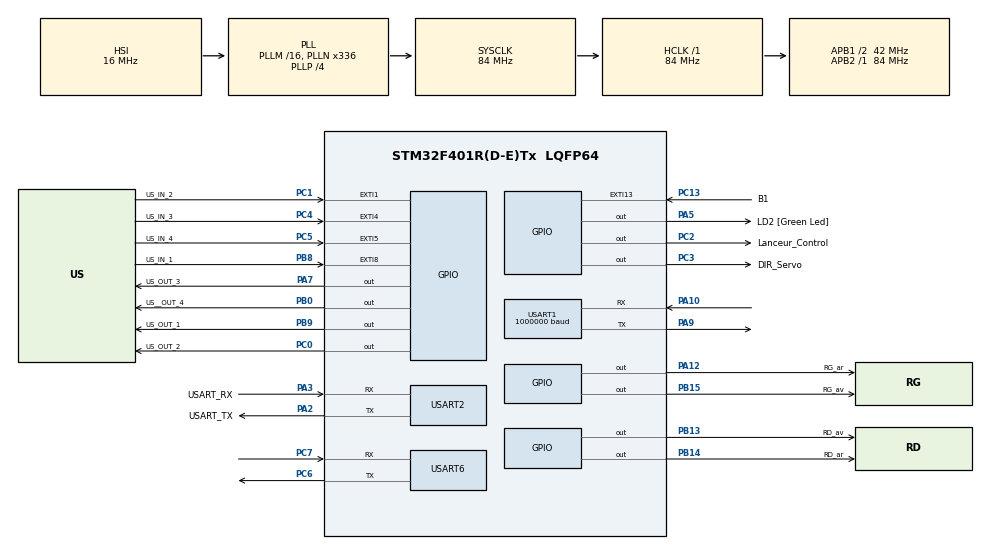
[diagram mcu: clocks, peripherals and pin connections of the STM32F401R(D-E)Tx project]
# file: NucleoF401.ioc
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Mcu.Family=STM32F4
Mcu.Name=STM32F401R(D-E)Tx
Mcu.Package=LQFP64
NVIC.EXTI15_10_IRQn=true\:0\:0\:false\:false\:true\:true
NVIC.EXTI1_IRQn=true\:0\:0\:false\:false\:true\:true
NVIC.EXTI4_IRQn=true\:0\:0\:false\:false\:true\:true
NVIC.EXTI9_5_IRQn=true\:0\:0\:false\:false\:true\:true
NVIC.PriorityGroup=NVIC_PRIORITYGROUP_0
NVIC.TIM3_IRQn=true\:0\:0\:false\:false\:true\:true
PA0-WKUP.GPIO_Label=CH_B1
PA0-WKUP.Signal=S_TIM2_CH1_ETR
PA10.Mode=Asynchronous
PA10.Signal=USART1_RX
PA12.GPIO_Label=RG_ar
PA12.Signal=GPIO_Output
PA13.GPIO_Label=TMS
PA13.Signal=SYS_JTMS-SWDIO
PA14.GPIO_Label=TCK
PA14.Signal=SYS_JTCK-SWCLK
PA2.GPIO_Label=USART_TX
PA2.GPIO_Mode=GPIO_MODE_AF_PP
PA2.GPIO_PuPd=GPIO_NOPULL
PA2.GPIO_Speed=GPIO_SPEED_FREQ_LOW
PA2.Mode=Asynchronous
PA2.Signal=USART2_TX
PA3.GPIO_Label=USART_RX
PA3.GPIO_Mode=GPIO_MODE_AF_PP
PA3.GPIO_PuPd=GPIO_NOPULL
PA3.GPIO_Speed=GPIO_SPEED_FREQ_LOW
PA3.Mode=Asynchronous
PA3.Signal=USART2_RX
PA5.GPIO_Label=LD2 [Green Led]
PA5.GPIO_Mode=GPIO_MODE_OUTPUT_PP
PA5.GPIO_PuPd=GPIO_NOPULL
PA5.GPIO_Speed=GPIO_SPEED_FREQ_LOW
PA5.Signal=GPIO_Output
PA6.GPIO_Label=CH_A2
PA6.Signal=S_TIM3_CH1
PA7.GPIO_Label=US_OUT_3
PA7.Signal=GPIO_Output
PA8.GPIO_Label=CH_A1
PA8.Signal=S_TIM1_CH1
PA9.Mode=Asynchronous
PA9.Signal=USART1_TX
PB0.GPIO_Label=US__OUT_4
PB0.Signal=GPIO_Output
PB13.GPIO_Label=RD_av
PB13.Signal=GPIO_Output
PB14.GPIO_Label=RD_ar
PB14.Signal=GPIO_Output
PB15.GPIO_Label=RG_av
PB15.Signal=GPIO_Output
PB3.GPIO_Label=SWO
PB3.Signal=SYS_JTDO-SWO
PB6.GPIO_Label=CH_B2
PB6.Signal=S_TIM4_CH1
PB8.GPIO_Label=US_IN_1
PB8.GPIO_ModeDefaultEXTI=GPIO_MODE_IT_RISING_FALLING
PB8.Signal=GPXTI8
PB9.GPIO_Label=US_OUT_1
PB9.Signal=GPIO_Output
PC0.GPIO_Label=US_OUT_2
PC0.Signal=GPIO_Output
PC1.GPIO_Label=US_IN_2
PC1.GPIO_ModeDefaultEXTI=GPIO_MODE_IT_RISING_FALLING
PC1.Signal=GPXTI1
PC13-ANTI_TAMP.GPIO_Label=B1
PC13-ANTI_TAMP.GPIO_ModeDefaultEXTI=GPIO_MODE_IT_FALLING
PC13-ANTI_TAMP.GPIO_PuPd=GPIO_NOPULL
PC13-ANTI_TAMP.Signal=GPXTI13
PC14-OSC32_IN.Signal=RCC_OSC32_IN
PC15-OSC32_OUT.Signal=RCC_OSC32_OUT
PC2.GPIO_Label=Lanceur_Control
PC2.Signal=GPIO_Output
PC3.GPIO_Label=DIR_Servo
PC3.Signal=GPIO_Output
PC4.GPIO_Label=US_IN_3
PC4.GPIO_ModeDefaultEXTI=GPIO_MODE_IT_RISING_FALLING
PC4.Signal=GPXTI4
PC5.GPIO_Label=US_IN_4
PC5.GPIO_ModeDefaultEXTI=GPIO_MODE_IT_RISING_FALLING
PC5.Signal=GPXTI5
PC6.Mode=Asynchronous
PC6.Signal=USART6_TX
PC7.Mode=Asynchronous
PC7.Signal=USART6_RX
PH0\ -\ OSC_IN.Signal=RCC_OSC_IN
PH1\ -\ OSC_OUT.Signal=RCC_OSC_OUT
ProjectManager.HeapSize=0x200
ProjectManager.StackSize=0x400
ProjectManager.TargetToolchain=Makefile
RCC.AHBFreq_Value=84000000
RCC.APB1CLKDivider=RCC_HCLK_DIV2
RCC.APB1Freq_Value=42000000
RCC.APB1TimFreq_Value=84000000
RCC.APB2Freq_Value=84000000
RCC.APB2TimFreq_Value=84000000
RCC.CortexFreq_Value=84000000
RCC.HCLKFreq_Value=84000000
RCC.HSE_VALUE=8000000
RCC.HSI_VALUE=16000000
RCC.LSE_VALUE=32768
RCC.PLLN=336
RCC.PLLP=RCC_PLLP_DIV4
RCC.PLLQ=7
RCC.SYSCLKFreq_VALUE=84000000
RCC.SYSCLKSource=RCC_SYSCLKSOURCE_PLLCLK
RCC.VCOOutputFreq_Value=336000000
SH.S_TIM1_CH1.0=TIM1_CH1
SH.S_TIM2_CH1_ETR.0=TIM2_CH1
SH.S_TIM3_CH1.0=TIM3_CH1
SH.S_TIM4_CH1.0=TIM4_CH1
TIM3.Period=1000-1
TIM3.Prescaler=42000-1
USART1.BaudRate=1000000
USART1.VirtualMode=VM_ASYNC
USART2.VirtualMode=VM_ASYNC
USART6.VirtualMode=VM_ASYNC
VP_TIM3_VS_ClockSourceINT.Mode=Internal
board=NUCLEO-F401RE

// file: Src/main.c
/**
  ******************************************************************************
  * @file           : main.c
  * @brief          : Main program body
  ******************************************************************************
  ** This notice applies to any and all portions of this file
  * that are not between comment pairs USER CODE BEGIN and
  * USER CODE END. Other portions of this file, whether
  * inserted by the user or by software development tools
  * are owned by their respective copyright owners.
  *
  * COPYRIGHT(c) 2018 STMicroelectronics
  *
  * Redistribution and use in source and binary forms, with or without modification,
  * are permitted provided that the following conditions are met:
  *   1. Redistributions of source code must retain the above copyright notice,
  *      this list of conditions and the following disclaimer.
  *   2. Redistributions in binary form must reproduce the above copyright notice,
  *      this list of conditions and the following disclaimer in the documentation
  *      and/or other materials provided with the distribution.
  *   3. Neither the name of STMicroelectronics nor the names of its contributors
  *      may be used to endorse or promote products derived from this software
  *      without specific prior written permission.
  *
  * THIS SOFTWARE IS PROVIDED BY THE COPYRIGHT HOLDERS AND CONTRIBUTORS "AS IS"
  * AND ANY EXPRESS OR IMPLIED WARRANTIES, INCLUDING, BUT NOT LIMITED TO, THE
  * IMPLIED WARRANTIES OF MERCHANTABILITY AND FITNESS FOR A PARTICULAR PURPOSE ARE
  * DISCLAIMED. IN NO EVENT SHALL THE COPYRIGHT HOLDER OR CONTRIBUTORS BE LIABLE
  * FOR ANY DIRECT, INDIRECT, INCIDENTAL, SPECIAL, EXEMPLARY, OR CONSEQUENTIAL
  * DAMAGES (INCLUDING, BUT NOT LIMITED TO, PROCUREMENT OF SUBSTITUTE GOODS OR
  * SERVICES; LOSS OF USE, DATA, OR PROFITS; OR BUSINESS INTERRUPTION) HOWEVER
  * CAUSED AND ON ANY THEORY OF LIABILITY, WHETHER IN CONTRACT, STRICT LIABILITY,
  * OR TORT (INCLUDING NEGLIGENCE OR OTHERWISE) ARISING IN ANY WAY OUT OF THE USE
  * OF THIS SOFTWARE, EVEN IF ADVISED OF THE POSSIBILITY OF SUCH DAMAGE.
  *
  ******************************************************************************
  */
#include "main.h"
#include "stm32f4xx_hal.h"

TIM_HandleTypeDef htim3;

UART_HandleTypeDef huart1;
UART_HandleTypeDef huart2;
UART_HandleTypeDef huart6;

/* USER CODE BEGIN PV */
/* Private variables ---------------------------------------------------------*/

/* USER CODE END PV */

void SystemClock_Config(void);
static void MX_GPIO_Init(void);
static void MX_USART1_UART_Init(void);
static void MX_TIM3_Init(void);
static void MX_USART2_UART_Init(void);
static void MX_USART6_UART_Init(void);

/* USER CODE BEGIN PFP */
/* Private function prototypes -----------------------------------------------*/

/* USER CODE END PFP */

/* USER CODE BEGIN 0 */
typedef struct Moteur_pin Moteur_pin;
struct Moteur_pin {
  GPIO_TypeDef* type;
  uint16_t pin;
};

typedef struct Moteur Moteur;
struct Moteur {
  Moteur_pin av;
  Moteur_pin ar;
};

void moteur_av(Moteur m)  {
  HAL_GPIO_WritePin(m.av.type, m.av.pin, GPIO_PIN_SET);
  HAL_GPIO_WritePin(m.ar.type, m.ar.pin, GPIO_PIN_RESET);
}

void moteur_ar(Moteur m)  {
  HAL_GPIO_WritePin(m.av.type, m.av.pin, GPIO_PIN_RESET);
  HAL_GPIO_WritePin(m.ar.type, m.ar.pin, GPIO_PIN_SET);
}

void moteur_off(Moteur m)  {
  HAL_GPIO_WritePin(m.av.type, m.av.pin, GPIO_PIN_RESET);
  HAL_GPIO_WritePin(m.ar.type, m.ar.pin, GPIO_PIN_RESET);
}

void rotation_droit(Moteur mg, Moteur md) {
  moteur_av(mg);
  HAL_Delay(3000);
  moteur_av(md);
  HAL_Delay(2000);
  moteur_off(mg);
  moteur_off(md);
}

void rotation_gauche(Moteur mg, Moteur md) {
  moteur_av(md);
  HAL_Delay(3000);
  moteur_av(mg);
  HAL_Delay(2000);
  moteur_off(mg);
  moteur_off(md);
}

/* USER CODE END 0 */

int main(void)
{

  /* MCU Configuration----------------------------------------------------------*/

  /* Reset of all peripherals, Initializes the Flash interface and the Systick. */
  HAL_Init();

  /* Configure the system clock */
  SystemClock_Config();

  /* Initialize all configured peripherals */
  MX_GPIO_Init();
  MX_USART1_UART_Init();
  MX_TIM3_Init();
  MX_USART2_UART_Init();
  MX_USART6_UART_Init();
  /* USER CODE BEGIN 2 */
  HAL_TIM_Base_Start_IT(&htim3);

  Moteur mg;
  mg.av.type = GPIOB;
  mg.av.pin = RG_av_Pin;
  mg.ar.type = GPIOA;
  mg.ar.pin = RG_ar_Pin;
  Moteur md;
  md.av.type = GPIOB;
  md.av.pin = RD_av_Pin;
  md.ar.type = GPIOB;
  md.ar.pin = RD_ar_Pin;

  moteur_av(md);
  HAL_Delay(2000);
  moteur_av(mg);

  HAL_Delay(2000);

  moteur_off(md);
  HAL_Delay(2000);
  moteur_off(mg);

  HAL_Delay(2000);

  rotation_droit(mg, md);

  HAL_Delay(2000);
  rotation_gauche(mg, md);

  //HAL_GPIO_WritePin(GPIOB, RD_ar_Pin, GPIO_PIN_SET);
  //HAL_GPIO_WritePin(GPIOB, RG_ar_Pin, GPIO_PIN_SET);

  //HAL_GPIO_WritePin(GPIOB, RD_av_Pin, GPIO_PIN_SET);
  //HAL_GPIO_WritePin(GPIOA, RG_av_Pin, GPIO_PIN_SET);

  /* USER CODE END 2 */

  /* Infinite loop */
  while (1)
  {

  }

}

void SystemClock_Config(void)
{

  RCC_OscInitTypeDef RCC_OscInitStruct;
  RCC_ClkInitTypeDef RCC_ClkInitStruct;

    /**Configure the main internal regulator output voltage
    */
  __HAL_RCC_PWR_CLK_ENABLE();

  __HAL_PWR_VOLTAGESCALING_CONFIG(PWR_REGULATOR_VOLTAGE_SCALE2);

    /**Initializes the CPU, AHB and APB busses clocks
    */
  RCC_OscInitStruct.OscillatorType = RCC_OSCILLATORTYPE_HSI;
  RCC_OscInitStruct.HSIState = RCC_HSI_ON;
  RCC_OscInitStruct.HSICalibrationValue = 16;
  RCC_OscInitStruct.PLL.PLLState = RCC_PLL_ON;
  RCC_OscInitStruct.PLL.PLLSource = RCC_PLLSOURCE_HSI;
  RCC_OscInitStruct.PLL.PLLM = 16;
  RCC_OscInitStruct.PLL.PLLN = 336;
  RCC_OscInitStruct.PLL.PLLP = RCC_PLLP_DIV4;
  RCC_OscInitStruct.PLL.PLLQ = 7;
  if (HAL_RCC_OscConfig(&RCC_OscInitStruct) != HAL_OK)
  {
    _Error_Handler(__FILE__, __LINE__);
  }

    /**Initializes the CPU, AHB and APB busses clocks
    */
  RCC_ClkInitStruct.ClockType = RCC_CLOCKTYPE_HCLK|RCC_CLOCKTYPE_SYSCLK
                              |RCC_CLOCKTYPE_PCLK1|RCC_CLOCKTYPE_PCLK2;
  RCC_ClkInitStruct.SYSCLKSource = RCC_SYSCLKSOURCE_PLLCLK;
  RCC_ClkInitStruct.AHBCLKDivider = RCC_SYSCLK_DIV1;
  RCC_ClkInitStruct.APB1CLKDivider = RCC_HCLK_DIV2;
  RCC_ClkInitStruct.APB2CLKDivider = RCC_HCLK_DIV1;

  if (HAL_RCC_ClockConfig(&RCC_ClkInitStruct, FLASH_LATENCY_2) != HAL_OK)
  {
    _Error_Handler(__FILE__, __LINE__);
  }

    /**Configure the Systick interrupt time
    */
  HAL_SYSTICK_Config(HAL_RCC_GetHCLKFreq()/1000);

    /**Configure the Systick
    */
  HAL_SYSTICK_CLKSourceConfig(SYSTICK_CLKSOURCE_HCLK);

  /* SysTick_IRQn interrupt configuration */
  HAL_NVIC_SetPriority(SysTick_IRQn, 0, 0);
}

/* TIM3 init function */
static void MX_TIM3_Init(void)
{

  TIM_ClockConfigTypeDef sClockSourceConfig;
  TIM_MasterConfigTypeDef sMasterConfig;

  htim3.Instance = TIM3;
  htim3.Init.Prescaler = 42000-1;
  htim3.Init.CounterMode = TIM_COUNTERMODE_UP;
  htim3.Init.Period = 1000-1;
  htim3.Init.ClockDivision = TIM_CLOCKDIVISION_DIV1;
  if (HAL_TIM_Base_Init(&htim3) != HAL_OK)
  {
    _Error_Handler(__FILE__, __LINE__);
  }

  sClockSourceConfig.ClockSource = TIM_CLOCKSOURCE_INTERNAL;
  if (HAL_TIM_ConfigClockSource(&htim3, &sClockSourceConfig) != HAL_OK)
  {
    _Error_Handler(__FILE__, __LINE__);
  }

  sMasterConfig.MasterOutputTrigger = TIM_TRGO_RESET;
  sMasterConfig.MasterSlaveMode = TIM_MASTERSLAVEMODE_DISABLE;
  if (HAL_TIMEx_MasterConfigSynchronization(&htim3, &sMasterConfig) != HAL_OK)
  {
    _Error_Handler(__FILE__, __LINE__);
  }

}

/* USART1 init function */
static void MX_USART1_UART_Init(void)
{

  huart1.Instance = USART1;
  huart1.Init.BaudRate = 1000000;
  huart1.Init.WordLength = UART_WORDLENGTH_8B;
  huart1.Init.StopBits = UART_STOPBITS_1;
  huart1.Init.Parity = UART_PARITY_NONE;
  huart1.Init.Mode = UART_MODE_TX_RX;
  huart1.Init.HwFlowCtl = UART_HWCONTROL_NONE;
  huart1.Init.OverSampling = UART_OVERSAMPLING_16;
  if (HAL_UART_Init(&huart1) != HAL_OK)
  {
    _Error_Handler(__FILE__, __LINE__);
  }

}

/* USART2 init function */
static void MX_USART2_UART_Init(void)
{

  huart2.Instance = USART2;
  huart2.Init.BaudRate = 115200;
  huart2.Init.WordLength = UART_WORDLENGTH_8B;
  huart2.Init.StopBits = UART_STOPBITS_1;
  huart2.Init.Parity = UART_PARITY_NONE;
  huart2.Init.Mode = UART_MODE_TX_RX;
  huart2.Init.HwFlowCtl = UART_HWCONTROL_NONE;
  huart2.Init.OverSampling = UART_OVERSAMPLING_16;
  if (HAL_UART_Init(&huart2) != HAL_OK)
  {
    _Error_Handler(__FILE__, __LINE__);
  }

}

/* USART6 init function */
static void MX_USART6_UART_Init(void)
{

  huart6.Instance = USART6;
  huart6.Init.BaudRate = 115200;
  huart6.Init.WordLength = UART_WORDLENGTH_8B;
  huart6.Init.StopBits = UART_STOPBITS_1;
  huart6.Init.Parity = UART_PARITY_NONE;
  huart6.Init.Mode = UART_MODE_TX_RX;
  huart6.Init.HwFlowCtl = UART_HWCONTROL_NONE;
  huart6.Init.OverSampling = UART_OVERSAMPLING_16;
  if (HAL_UART_Init(&huart6) != HAL_OK)
  {
    _Error_Handler(__FILE__, __LINE__);
  }

}

/** Configure pins as
        * Analog
        * Input
        * Output
        * EVENT_OUT
        * EXTI
        * Free pins are configured automatically as Analog (this feature is enabled through
        * the Code Generation settings)
     PA0-WKUP   ------> S_TIM2_CH1_ETR
     PA8   ------> S_TIM1_CH1
     PB6   ------> S_TIM4_CH1
*/
static void MX_GPIO_Init(void)
{

  GPIO_InitTypeDef GPIO_InitStruct;

  /* GPIO Ports Clock Enable */
  __HAL_RCC_GPIOC_CLK_ENABLE();
  __HAL_RCC_GPIOH_CLK_ENABLE();
  __HAL_RCC_GPIOA_CLK_ENABLE();
  __HAL_RCC_GPIOB_CLK_ENABLE();
  __HAL_RCC_GPIOD_CLK_ENABLE();

  /*Configure GPIO pin Output Level */
  HAL_GPIO_WritePin(GPIOC, US_OUT_2_Pin|Lanceur_Control_Pin|DIR_Servo_Pin, GPIO_PIN_RESET);

  /*Configure GPIO pin Output Level */
  HAL_GPIO_WritePin(GPIOA, LD2_Pin|US_OUT_3_Pin|RG_ar_Pin, GPIO_PIN_RESET);

  /*Configure GPIO pin Output Level */
  HAL_GPIO_WritePin(GPIOB, US__OUT_4_Pin|RD_av_Pin|RD_ar_Pin|RG_av_Pin
                          |US_OUT_1_Pin, GPIO_PIN_RESET);

  /*Configure GPIO pin : B1_Pin */
  GPIO_InitStruct.Pin = B1_Pin;
  GPIO_InitStruct.Mode = GPIO_MODE_IT_FALLING;
  GPIO_InitStruct.Pull = GPIO_NOPULL;
  HAL_GPIO_Init(B1_GPIO_Port, &GPIO_InitStruct);

  /*Configure GPIO pins : US_OUT_2_Pin Lanceur_Control_Pin DIR_Servo_Pin */
  GPIO_InitStruct.Pin = US_OUT_2_Pin|Lanceur_Control_Pin|DIR_Servo_Pin;
  GPIO_InitStruct.Mode = GPIO_MODE_OUTPUT_PP;
  GPIO_InitStruct.Pull = GPIO_NOPULL;
  GPIO_InitStruct.Speed = GPIO_SPEED_FREQ_LOW;
  HAL_GPIO_Init(GPIOC, &GPIO_InitStruct);

  /*Configure GPIO pins : US_IN_2_Pin US_IN_3_Pin US_IN_4_Pin */
  GPIO_InitStruct.Pin = US_IN_2_Pin|US_IN_3_Pin|US_IN_4_Pin;
  GPIO_InitStruct.Mode = GPIO_MODE_IT_RISING_FALLING;
  GPIO_InitStruct.Pull = GPIO_NOPULL;
  HAL_GPIO_Init(GPIOC, &GPIO_InitStruct);

  /*Configure GPIO pin : CH_B1_Pin */
  GPIO_InitStruct.Pin = CH_B1_Pin;
  GPIO_InitStruct.Mode = GPIO_MODE_AF_PP;
  GPIO_InitStruct.Pull = GPIO_NOPULL;
  GPIO_InitStruct.Speed = GPIO_SPEED_FREQ_LOW;
  GPIO_InitStruct.Alternate = GPIO_AF1_TIM2;
  HAL_GPIO_Init(CH_B1_GPIO_Port, &GPIO_InitStruct);

  /*Configure GPIO pins : PA1 PA4 PA11 PA15 */
  GPIO_InitStruct.Pin = GPIO_PIN_1|GPIO_PIN_4|GPIO_PIN_11|GPIO_PIN_15;
  GPIO_InitStruct.Mode = GPIO_MODE_ANALOG;
  GPIO_InitStruct.Pull = GPIO_NOPULL;
  HAL_GPIO_Init(GPIOA, &GPIO_InitStruct);

  /*Configure GPIO pins : LD2_Pin US_OUT_3_Pin RG_ar_Pin */
  GPIO_InitStruct.Pin = LD2_Pin|US_OUT_3_Pin|RG_ar_Pin;
  GPIO_InitStruct.Mode = GPIO_MODE_OUTPUT_PP;
  GPIO_InitStruct.Pull = GPIO_NOPULL;
  GPIO_InitStruct.Speed = GPIO_SPEED_FREQ_LOW;
  HAL_GPIO_Init(GPIOA, &GPIO_InitStruct);

  /*Configure GPIO pins : US__OUT_4_Pin RD_av_Pin RD_ar_Pin RG_av_Pin
                           US_OUT_1_Pin */
  GPIO_InitStruct.Pin = US__OUT_4_Pin|RD_av_Pin|RD_ar_Pin|RG_av_Pin
                          |US_OUT_1_Pin;
  GPIO_InitStruct.Mode = GPIO_MODE_OUTPUT_PP;
  GPIO_InitStruct.Pull = GPIO_NOPULL;
  GPIO_InitStruct.Speed = GPIO_SPEED_FREQ_LOW;
  HAL_GPIO_Init(GPIOB, &GPIO_InitStruct);

  /*Configure GPIO pins : PB1 PB2 PB10 PB12
                           PB4 PB5 PB7 */
  GPIO_InitStruct.Pin = GPIO_PIN_1|GPIO_PIN_2|GPIO_PIN_10|GPIO_PIN_12
                          |GPIO_PIN_4|GPIO_PIN_5|GPIO_PIN_7;
  GPIO_InitStruct.Mode = GPIO_MODE_ANALOG;
  GPIO_InitStruct.Pull = GPIO_NOPULL;
  HAL_GPIO_Init(GPIOB, &GPIO_InitStruct);

  /*Configure GPIO pins : PC8 PC9 PC10 PC11
                           PC12 */
  GPIO_InitStruct.Pin = GPIO_PIN_8|GPIO_PIN_9|GPIO_PIN_10|GPIO_PIN_11
                          |GPIO_PIN_12;
  GPIO_InitStruct.Mode = GPIO_MODE_ANALOG;
  GPIO_InitStruct.Pull = GPIO_NOPULL;
  HAL_GPIO_Init(GPIOC, &GPIO_InitStruct);

  /*Configure GPIO pin : CH_A1_Pin */
  GPIO_InitStruct.Pin = CH_A1_Pin;
  GPIO_InitStruct.Mode = GPIO_MODE_AF_PP;
  GPIO_InitStruct.Pull = GPIO_NOPULL;
  GPIO_InitStruct.Speed = GPIO_SPEED_FREQ_LOW;
  GPIO_InitStruct.Alternate = GPIO_AF1_TIM1;
  HAL_GPIO_Init(CH_A1_GPIO_Port, &GPIO_InitStruct);

  /*Configure GPIO pin : PD2 */
  GPIO_InitStruct.Pin = GPIO_PIN_2;
  GPIO_InitStruct.Mode = GPIO_MODE_ANALOG;
  GPIO_InitStruct.Pull = GPIO_NOPULL;
  HAL_GPIO_Init(GPIOD, &GPIO_InitStruct);

  /*Configure GPIO pin : CH_B2_Pin */
  GPIO_InitStruct.Pin = CH_B2_Pin;
  GPIO_InitStruct.Mode = GPIO_MODE_AF_PP;
  GPIO_InitStruct.Pull = GPIO_NOPULL;
  GPIO_InitStruct.Speed = GPIO_SPEED_FREQ_LOW;
  GPIO_InitStruct.Alternate = GPIO_AF2_TIM4;
  HAL_GPIO_Init(CH_B2_GPIO_Port, &GPIO_InitStruct);

  /*Configure GPIO pin : US_IN_1_Pin */
  GPIO_InitStruct.Pin = US_IN_1_Pin;
  GPIO_InitStruct.Mode = GPIO_MODE_IT_RISING_FALLING;
  GPIO_InitStruct.Pull = GPIO_NOPULL;
  HAL_GPIO_Init(US_IN_1_GPIO_Port, &GPIO_InitStruct);

  /* EXTI interrupt init*/
  HAL_NVIC_SetPriority(EXTI1_IRQn, 0, 0);
  HAL_NVIC_EnableIRQ(EXTI1_IRQn);

  HAL_NVIC_SetPriority(EXTI4_IRQn, 0, 0);
  HAL_NVIC_EnableIRQ(EXTI4_IRQn);

  HAL_NVIC_SetPriority(EXTI9_5_IRQn, 0, 0);
  HAL_NVIC_EnableIRQ(EXTI9_5_IRQn);

  HAL_NVIC_SetPriority(EXTI15_10_IRQn, 0, 0);
  HAL_NVIC_EnableIRQ(EXTI15_10_IRQn);

}

/* USER CODE BEGIN 4 */
void HAL_TIM_PeriodElapsedCallback(TIM_HandleTypeDef* htim){
    if(htim->Instance == htim3.Instance){
        HAL_GPIO_TogglePin(LD2_GPIO_Port, LD2_Pin);
    }
}
/* USER CODE END 4 */

void _Error_Handler(char *file, int line)
{
  while(1)
  {
  }
}

/************************ (C) COPYRIGHT STMicroelectronics *****END OF FILE****/
